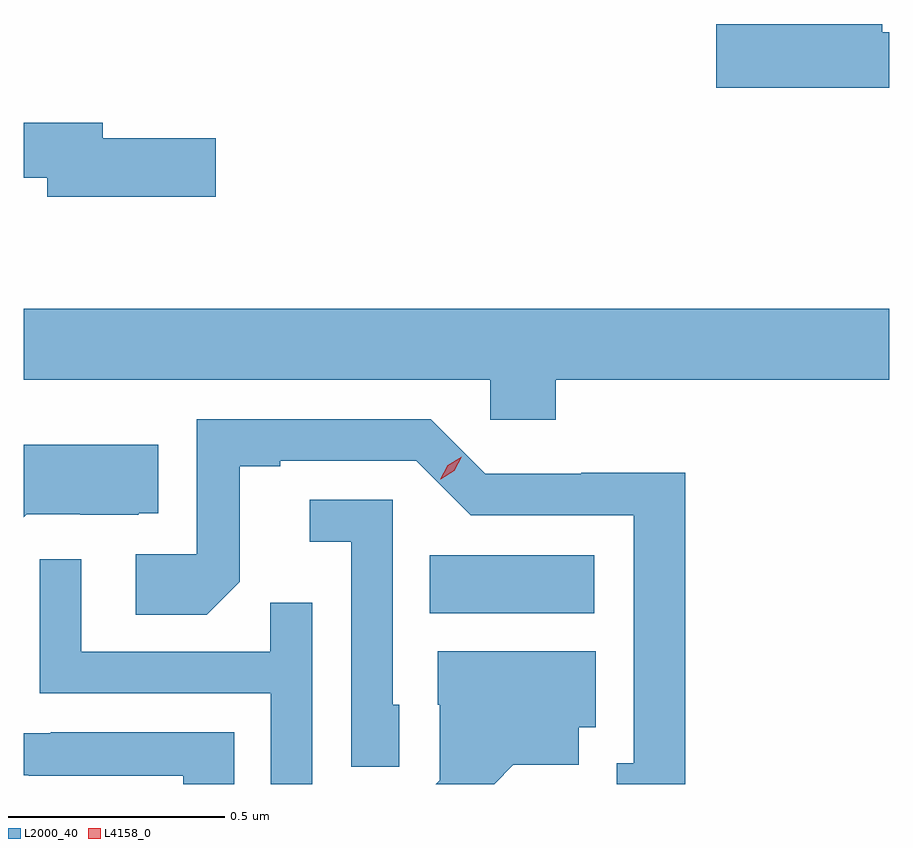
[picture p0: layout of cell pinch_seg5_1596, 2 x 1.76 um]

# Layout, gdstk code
import gdstk
lib = gdstk.Library(unit=1e-6, precision=1e-09)
def R(c, l, rs):  # rectangles x0, y0, x1, y1
    for r in rs: c.add(gdstk.rectangle(r[:2], r[2:], *l))
def P(c, l, *ps):  # polygons
    for p in ps: c.add(gdstk.Polygon(p, *l))
L2000_40 = (2000, 40)
L4158_0 = (4158, 0)

pinch_seg5_1596 = lib.new_cell('pinch_seg5_1596')
R(pinch_seg5_1596, L2000_40, [(303.202,872.204,303.583,872.338)])
P(pinch_seg5_1596, L2000_40, [(304.264,873.547),(304.248,873.547),(304.248,873.566),(303.864,873.566),(303.864,873.419),(304.264,873.419)],
  [(302.707,873.302),(302.446,873.302),(302.446,873.338),(302.264,873.338),(302.264,873.21),(302.318,873.21),(302.318,873.167),(302.707,873.167)],
  [(303.494,872.744),(304.264,872.744),(304.264,872.908),(302.264,872.908),(302.264,872.744),(303.342,872.744),(303.342,872.651),(303.494,872.651)],
  [(303.793,872.528),(303.552,872.528),(303.552,872.526),(303.33,872.526),(303.204,872.652),(302.664,872.652),(302.664,872.34),(302.523,872.34),(302.523,872.2),(302.687,872.2),(302.763,872.276),(302.763,872.544),(302.857,872.544),(302.857,872.556),(303.171,872.556),(303.297,872.43),(303.674,872.43),(303.674,871.857),(303.635,871.857),(303.635,871.809),(303.793,871.809)],
  [(302.271,872.433),(302.394,872.433),(302.394,872.432),(302.528,872.432),(302.531,872.435),(302.575,872.435),(302.575,872.593),(302.264,872.593),(302.264,872.426)],
  [(303.132,871.992),(303.117,871.992),(303.117,872.466),(302.925,872.466),(302.925,872.369),(303.021,872.369),(303.021,871.849),(303.132,871.849)],
  [(302.931,872.228),(302.833,872.228),(302.833,872.115),(302.397,872.115),(302.397,872.329),(302.301,872.329),(302.301,872.019),(302.835,872.019),(302.835,871.809),(302.931,871.809)],
  [(303.395,871.853),(303.547,871.853),(303.547,871.94),(303.586,871.94),(303.586,872.116),(303.221,872.116),(303.221,871.992),(303.225,871.992),(303.225,871.818),(303.216,871.809),(303.351,871.809)],
  [(302.75,871.929),(302.326,871.929),(302.326,871.926),(302.264,871.926),(302.264,871.829),(302.275,871.829),(302.275,871.828),(302.632,871.828),(302.632,871.809),(302.75,871.809)])
P(pinch_seg5_1596, L4158_0, [(303.227,872.513),(303.227,872.513),(303.244,872.546),(303.276,872.566),(303.276,872.566),(303.276,872.565),(303.259,872.533),(303.228,872.513)])

lib.write_gds('pinch_seg5_1596.gds')
